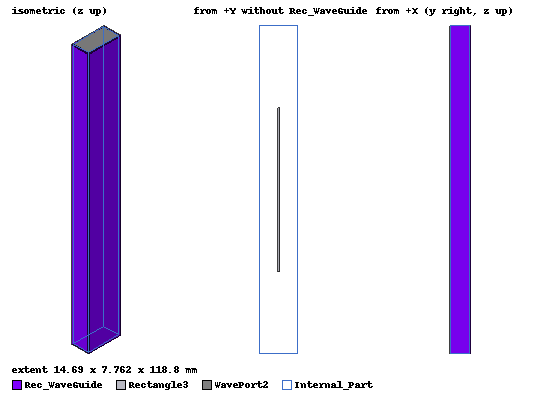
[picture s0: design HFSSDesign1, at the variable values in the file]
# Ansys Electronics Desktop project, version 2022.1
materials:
  vacuum: permittivity=1
  pec: conductivity=1e+30
  copper: permeability=0.999991 conductivity=58000000

design HFSSDesign1 (HFSS, DrivenModal, model units mm)
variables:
  a1 = 13.8614mm
  Tickness = 0.03*a1
  Lambda = 14.848mm
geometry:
  Rec_WaveGuide [pec] = box(corner=(-Tickness, -Tickness, 0mm), size=(a1+2*Tickness, a1/2+2*Tickness, 8*Lambda))
  Box2 = box(corner=(0, 0, 0), size=(a1, a1/2, 8*Lambda))
  Rec_WaveGuide.subtract(Box2)
  Internal_Part [vacuum] = box(corner=(0mm, 0mm, 0mm), size=(a1, a1/2, 8*Lambda))
  WavePort1 = rectangle(corner=(0mm, 0mm, 0mm), x_size=a1, y_size=a1/2)
  WavePort2 = rectangle(corner=(0mm, 0mm, 8*Lambda), x_size=a1, y_size=a1/2)
  Rectangle1 = rectangle(corner=(0mm, 0mm, Lambda), x_size=a1, y_size=a1/2)
  Rectangle2 = rectangle(corner=(0mm, 0mm, Lambda*5/4), x_size=a1, y_size=a1/2)
  Rectangle3 [pec] = rectangle(corner=((a1-Tickness)/2, 0mm, 2*Lambda), y_size=a1/2, z_size=4*Lambda)
  Rectangle3.thicken(Tickness)
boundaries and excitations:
  PerfE1: Perfect E Objects=Rec_WaveGuide
  WP1: Wave Port Faces=WavePort1.face NumModes=4 Modes{Mode1{IntLine{(6.9307, 6.9307, 0) -> (7, 0, 0)} CharImp=Zvi} Mode2{IntLine{(0, 3.5, 0) -> (13.8614, 3.46535, 0)} CharImp=Zvi} Mode3{IntLine{(10.39605, 6.9307, 0) -> (10.39605, 0, 0)} CharImp=Zvi} Mode4{IntLine{(13.8614, 3.46535, 0) -> (6.9307, 3.46535, 0)} CharImp=Zvi}} UseAnalyticAlignment AnalyticULine{(0, 3.46535, 0) -> (13.8614, 3.46535, 0)}
  WP2: Wave Port Faces=WavePort2.face NumModes=4 Modes{Mode1{IntLine{(6.9307, 6.9307, 118.784) -> (6.9307, 0, 118.784)} CharImp=Zvi RenormImp=50ohm} Mode2{IntLine{(0, 3.5, 118.784) -> (13.8614, 3.46535, 118.784)} CharImp=Zvi RenormImp=50ohm} Mode3{IntLine{(10.39605, 6.9307, 118.784) -> (10.39605, 0, 118.784)} CharImp=Zvi RenormImp=50ohm} Mode4{IntLine{(13.8614, 3.46535, 118.784) -> (6.9307, 3.46535, 118.784)} CharImp=Zvi RenormImp=50ohm}} UseAnalyticAlignment AnalyticULine{(0, 3.46535, 118.784) -> (13.8614, 3.46535, 118.784)}
  reference conductors: Rec_WaveGuide
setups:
  Setup1: HfssDriven Frequency=22.92GHz MaxDeltaS=0.02 MaximumPasses=6 MinimumPasses=4 MinimumConvergedPasses=1 PercentRefinement=30 BasisOrder=1 PortAccuracy=2 DrivenSolverType="Direct Solver"
    sweep Sweep: 8GHz to 35GHz, 800 points; Type=Interpolating InterpTolerance=0.5 InterpMaxSolns=250 InterpUsePortImped=false PassivityErrorTolerance=0.0001
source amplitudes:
  WP1:1: 1W 0deg
  WP1:2, WP1:3, WP1:4, WP2:1..WP2:4: 0W 0deg
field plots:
  Mag_Jsurf1: Jsurf over Rec_WaveGuide.face(at (6.9307, 0, 59.392)) Internal_Part.face(+x, -x, +y) on Setup1 : LastAdaptive at Freq=22.92GHz Phase=0deg
  Vector_E1, Vector_E2: E Field over Rectangle1.face Rectangle2.face on Setup1 : LastAdaptive at Freq=22.92GHz Phase=0deg
  Vector_H1: H Field over Rectangle1.face Rectangle2.face on Setup1 : LastAdaptive at Freq=22.92GHz Phase=0deg
  Mag_E1: E Field over Rec_WaveGuide.face(at (6.9307, 0, 59.392)) Internal_Part.face(-x, +y, +x) on Setup1 : LastAdaptive at Freq=22.92GHz Phase=0deg
  Mag_H1: H Field over Internal_Part.face(+y, +x) Rec_WaveGuide.face(at (0, 3.46535, 59.392), at (6.9307, 0, 59.392)) on Setup1 : LastAdaptive at Freq=22.92GHz Phase=0deg
  Vector_H2: H Field over Rectangle2.face Rectangle1.face on Setup1 : LastAdaptive at Freq=22.92GHz Phase=0deg
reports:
  Gamma Plot 1: im(Gamma(WP1:1)), im(Gamma(WP1:2)), im(Gamma(WP1:3)), im(Gamma(WP1:4)) vs Freq on Setup1 : Sweep; markers m1 at 10.838548GHz, m2 at 21.618273GHz, m3 at 24.152691GHz
  Port Zo Table 2: re(Zo(WP1:1)), im(Zo(WP1:1)) vs Freq on Setup1 : Sweep
  Port Zo Table 3: re(Zo(WP1:2)), im(Zo(WP1:2)) vs Freq on Setup1 : Sweep
  Port Zo Table 4: re(Zo(WP1:3)), im(Zo(WP1:3)) vs Freq on Setup1 : Sweep
  Port Zo Table 5: re(Zo(WP1:4)), im(Zo(WP1:4)) vs Freq on Setup1 : Sweep
  S Parameter Table 1: mag(S(WP1:1,WP1:1)), mag(S(WP2:1,WP1:1)), mag(S(WP1:1,WP2:1)), mag(S(WP2:1,WP2:1)) vs Freq on Setup1 : Sweep
  S Parameter Table 2: mag(S(WP1:2,WP1:2)), mag(S(WP2:2,WP1:2)), mag(S(WP1:2,WP2:2)), mag(S(WP2:2,WP2:2)) vs Freq on Setup1 : Sweep
  S Parameter Table 3: mag(S(WP1:3,WP1:3)), mag(S(WP2:3,WP1:3)), mag(S(WP1:3,WP2:3)), mag(S(WP2:3,WP2:3)) vs Freq on Setup1 : Sweep
  S Parameter Table 4: mag(S(WP1:4,WP1:4)), mag(S(WP2:4,WP1:4)), mag(S(WP1:4,WP2:4)), mag(S(WP2:4,WP2:4)) vs Freq on Setup1 : Sweep
